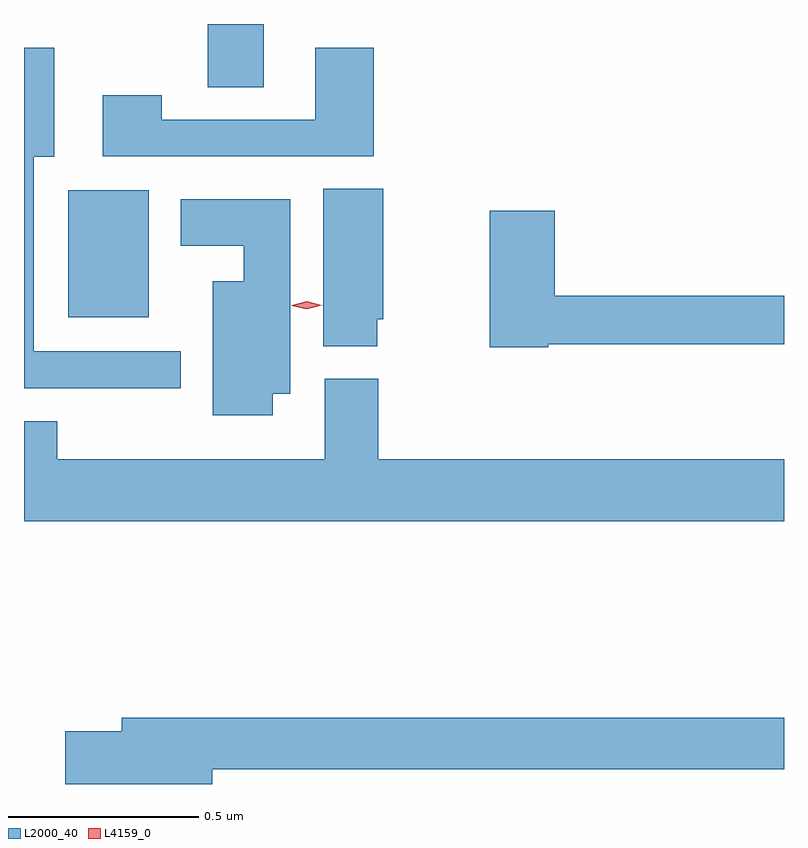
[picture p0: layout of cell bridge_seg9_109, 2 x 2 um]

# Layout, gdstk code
import gdstk
lib = gdstk.Library(unit=1e-6, precision=1e-09)
def R(c, l, rs):  # rectangles x0, y0, x1, y1
    for r in rs: c.add(gdstk.rectangle(r[:2], r[2:], *l))
def P(c, l, *ps):  # polygons
    for p in ps: c.add(gdstk.Polygon(p, *l))
L2000_40 = (2000, 40)
L4159_0 = (4159, 0)

bridge_seg9_109 = lib.new_cell('bridge_seg9_109')
R(bridge_seg9_109, L2000_40, [(813.362,1191.629,813.574,1191.964), (813.73,1192.234,813.877,1192.401)])
P(bridge_seg9_109, L2000_40, [(813.658,1191.54),(813.271,1191.54),(813.271,1192.052),(813.325,1192.052),(813.325,1192.339),(813.246,1192.339),(813.246,1191.443),(813.658,1191.443)],
  [(814.166,1192.339),(814.013,1192.339),(814.013,1192.149),(813.609,1192.149),(813.609,1192.213),(813.453,1192.213),(813.453,1192.053),(814.166,1192.053)],
  [(814.176,1191.624),(814.192,1191.624),(814.192,1191.968),(814.034,1191.968),(814.034,1191.553),(814.176,1191.553)],
  [(813.901,1191.428),(813.946,1191.428),(813.946,1191.94),(813.659,1191.94),(813.659,1191.818),(813.824,1191.818),(813.824,1191.724),(813.743,1191.724),(813.743,1191.372),(813.901,1191.372)],
  [(814.626,1191.558),(815.246,1191.558),(815.246,1191.686),(814.643,1191.686),(814.643,1191.91),(814.472,1191.91),(814.472,1191.55),(814.626,1191.55)],
  [(815.246,1191.256),(814.178,1191.256),(814.178,1191.468),(814.037,1191.468),(814.037,1191.256),(813.333,1191.256),(813.333,1191.355),(813.246,1191.355),(813.246,1191.092),(815.246,1191.092)],
  [(813.742,1190.44),(815.246,1190.44),(815.246,1190.576),(813.503,1190.576),(813.503,1190.54),(813.354,1190.54),(813.354,1190.401),(813.742,1190.401)])
P(bridge_seg9_109, L4159_0, [(813.99,1191.651),(813.95,1191.66),(813.95,1191.661),(813.95,1191.661),(813.99,1191.671),(814.03,1191.661),(814.031,1191.661),(814.03,1191.661)])

lib.write_gds('bridge_seg9_109.gds')
